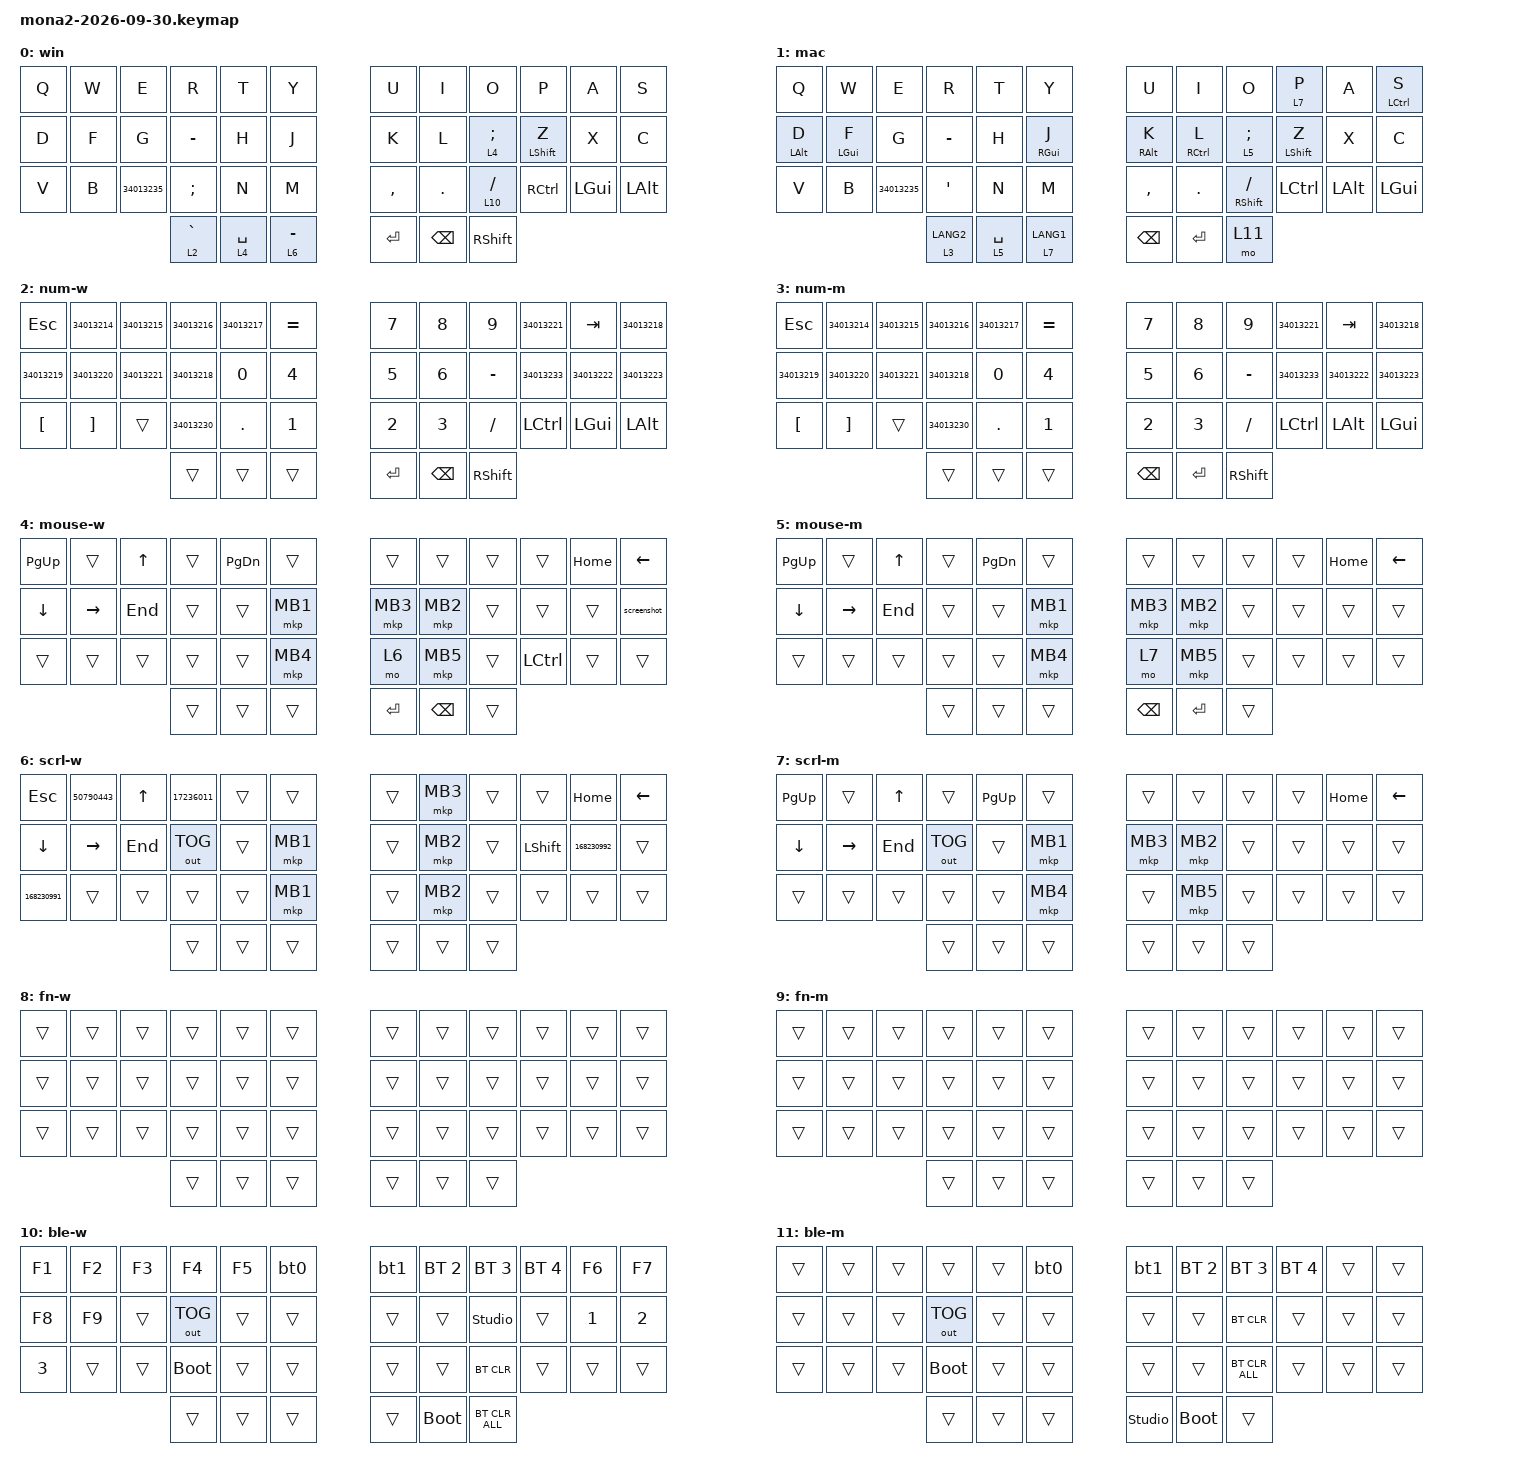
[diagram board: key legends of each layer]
/ {
    keymap {
        compatible = "zmk,keymap";
        win {
            bindings = <
                &kp Q    &kp W    &kp E    &kp R    &kp T    &kp Y    &kp U    &kp I    &kp O    &kp P    &kp A    &kp S
                &kp D    &kp F    &kp G    &kp MINUS    &kp H    &kp J    &kp K    &kp L    &lt 4 SEMICOLON    &mt LEFT_SHIFT Z    &kp X    &kp C
                &kp V    &kp B    &kp 34013235    &kp SEMICOLON    &kp N    &kp M    &kp COMMA    &kp PERIOD    &lt 10 SLASH    &kp RIGHT_CONTROL    &kp LEFT_GUI    &kp LEFT_ALT
                &lt 2 GRAVE    &lt 4 SPACE    &lt 6 MINUS    &kp RETURN    &kp BACKSPACE    &kp RIGHT_SHIFT
            >;
        };
        mac {
            bindings = <
                &kp Q    &kp W    &kp E    &kp R    &kp T    &kp Y    &kp U    &kp I    &kp O    &lt 7 P    &kp A    &mt LEFT_CONTROL S
                &mt LEFT_ALT D    &mt LEFT_GUI F    &kp G    &kp MINUS    &kp H    &mt RIGHT_GUI J    &mt RIGHT_ALT K    &mt RIGHT_CONTROL L    &lt 5 SEMICOLON    &mt LEFT_SHIFT Z    &kp X    &kp C
                &kp V    &kp B    &kp 34013235    &kp SQT    &kp N    &kp M    &kp COMMA    &kp PERIOD    &mt RIGHT_SHIFT SLASH    &kp LEFT_CONTROL    &kp LEFT_ALT    &kp LEFT_GUI
                &lt 3 LANG2    &lt 5 SPACE    &lt 7 LANG1    &kp BACKSPACE    &kp RETURN    &mo 11
            >;
        };
        num-w {
            bindings = <
                &kp ESCAPE    &kp 34013214    &kp 34013215    &kp 34013216    &kp 34013217    &kp EQUAL    &kp N7    &kp N8    &kp N9    &kp 34013221    &kp TAB    &kp 34013218
                &kp 34013219    &kp 34013220    &kp 34013221    &kp 34013218    &kp N0    &kp N4    &kp N5    &kp N6    &kp MINUS    &kp 34013233    &kp 34013222    &kp 34013223
                &kp LEFT_BRACKET    &kp RIGHT_BRACKET    &trans    &kp 34013230    &kp PERIOD    &kp N1    &kp N2    &kp N3    &kp SLASH    &kp LEFT_CONTROL    &kp LEFT_GUI    &kp LEFT_ALT
                &trans    &trans    &trans    &kp RETURN    &kp BACKSPACE    &kp RIGHT_SHIFT
            >;
        };
        num-m {
            bindings = <
                &kp ESCAPE    &kp 34013214    &kp 34013215    &kp 34013216    &kp 34013217    &kp EQUAL    &kp N7    &kp N8    &kp N9    &kp 34013221    &kp TAB    &kp 34013218
                &kp 34013219    &kp 34013220    &kp 34013221    &kp 34013218    &kp N0    &kp N4    &kp N5    &kp N6    &kp MINUS    &kp 34013233    &kp 34013222    &kp 34013223
                &kp LEFT_BRACKET    &kp RIGHT_BRACKET    &trans    &kp 34013230    &kp PERIOD    &kp N1    &kp N2    &kp N3    &kp SLASH    &kp LEFT_CONTROL    &kp LEFT_ALT    &kp LEFT_GUI
                &trans    &trans    &trans    &kp BACKSPACE    &kp RETURN    &kp RIGHT_SHIFT
            >;
        };
        mouse-w {
            bindings = <
                &kp PAGE_UP    &trans    &kp UP    &trans    &kp PAGE_DOWN    &trans    &trans    &trans    &trans    &trans    &kp HOME    &kp LEFT
                &kp DOWN    &kp RIGHT    &kp END    &trans    &trans    &mkp MB1    &mkp MB3    &mkp MB2    &trans    &trans    &trans    &screenshot
                &trans    &trans    &trans    &trans    &trans    &mkp MB4    &mo 6    &mkp MB5    &trans    &kp LEFT_CONTROL    &trans    &trans
                &trans    &trans    &trans    &kp RETURN    &kp BACKSPACE    &trans
            >;
        };
        mouse-m {
            bindings = <
                &kp PAGE_UP    &trans    &kp UP    &trans    &kp PAGE_DOWN    &trans    &trans    &trans    &trans    &trans    &kp HOME    &kp LEFT
                &kp DOWN    &kp RIGHT    &kp END    &trans    &trans    &mkp MB1    &mkp MB3    &mkp MB2    &trans    &trans    &trans    &trans
                &trans    &trans    &trans    &trans    &trans    &mkp MB4    &mo 7    &mkp MB5    &trans    &trans    &trans    &trans
                &trans    &trans    &trans    &kp BACKSPACE    &kp RETURN    &trans
            >;
        };
        scrl-w {
            bindings = <
                &kp ESCAPE    &kp 50790443    &kp UP    &kp 17236011    &trans    &trans    &trans    &mkp MB3    &trans    &trans    &kp HOME    &kp LEFT
                &kp DOWN    &kp RIGHT    &kp END    &out OUT_TOG    &trans    &mkp MB1    &trans    &mkp MB2    &trans    &kp LEFT_SHIFT    &kp 168230992    &trans
                &kp 168230991    &trans    &trans    &trans    &trans    &mkp MB1    &trans    &mkp MB2    &trans    &trans    &trans    &trans
                &trans    &trans    &trans    &trans    &trans    &trans
            >;
        };
        scrl-m {
            bindings = <
                &kp PAGE_UP    &trans    &kp UP    &trans    &kp PAGE_UP    &trans    &trans    &trans    &trans    &trans    &kp HOME    &kp LEFT
                &kp DOWN    &kp RIGHT    &kp END    &out OUT_TOG    &trans    &mkp MB1    &mkp MB3    &mkp MB2    &trans    &trans    &trans    &trans
                &trans    &trans    &trans    &trans    &trans    &mkp MB4    &trans    &mkp MB5    &trans    &trans    &trans    &trans
                &trans    &trans    &trans    &trans    &trans    &trans
            >;
        };
        fn-w {
            bindings = <
                &trans    &trans    &trans    &trans    &trans    &trans    &trans    &trans    &trans    &trans    &trans    &trans
                &trans    &trans    &trans    &trans    &trans    &trans    &trans    &trans    &trans    &trans    &trans    &trans
                &trans    &trans    &trans    &trans    &trans    &trans    &trans    &trans    &trans    &trans    &trans    &trans
                &trans    &trans    &trans    &trans    &trans    &trans
            >;
        };
        fn-m {
            bindings = <
                &trans    &trans    &trans    &trans    &trans    &trans    &trans    &trans    &trans    &trans    &trans    &trans
                &trans    &trans    &trans    &trans    &trans    &trans    &trans    &trans    &trans    &trans    &trans    &trans
                &trans    &trans    &trans    &trans    &trans    &trans    &trans    &trans    &trans    &trans    &trans    &trans
                &trans    &trans    &trans    &trans    &trans    &trans
            >;
        };
        ble-w {
            bindings = <
                &kp F1    &kp F2    &kp F3    &kp F4    &kp F5    &bt0    &bt1    &bt BT_SEL 2    &bt BT_SEL 3    &bt BT_SEL 4    &kp F6    &kp F7
                &kp F8    &kp F9    &trans    &out OUT_TOG    &trans    &trans    &trans    &trans    &studio_unlock    &trans    &kp N1    &kp N2
                &kp N3    &trans    &trans    &bootloader    &trans    &trans    &trans    &trans    &bt BT_CLR    &trans    &trans    &trans
                &trans    &trans    &trans    &trans    &bootloader    &bt BT_CLR_ALL
            >;
        };
        ble-m {
            bindings = <
                &trans    &trans    &trans    &trans    &trans    &bt0    &bt1    &bt BT_SEL 2    &bt BT_SEL 3    &bt BT_SEL 4    &trans    &trans
                &trans    &trans    &trans    &out OUT_TOG    &trans    &trans    &trans    &trans    &bt BT_CLR    &trans    &trans    &trans
                &trans    &trans    &trans    &bootloader    &trans    &trans    &trans    &trans    &bt BT_CLR_ALL    &trans    &trans    &trans
                &trans    &trans    &trans    &studio_unlock    &bootloader    &trans
            >;
        };
    };
};
